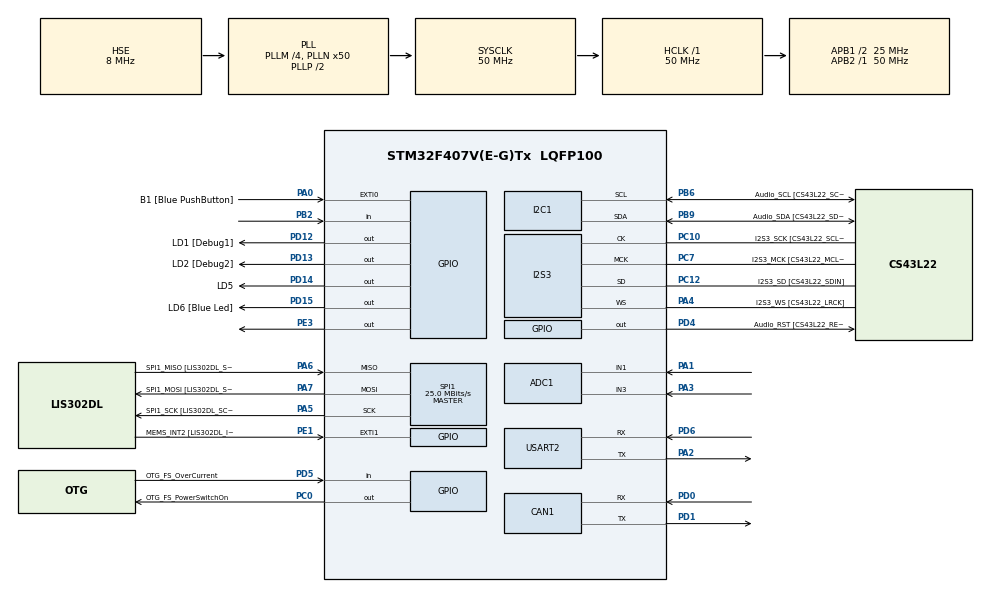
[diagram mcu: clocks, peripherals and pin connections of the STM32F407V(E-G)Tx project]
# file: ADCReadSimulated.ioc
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ADC1.Channel-0\#ChannelRegularConversion=ADC_CHANNEL_1
ADC1.NbrOfConversionFlag=1
ADC1.Rank-0\#ChannelRegularConversion=1
ADC1.SamplingTime-0\#ChannelRegularConversion=ADC_SAMPLETIME_3CYCLES
ADC1.master=1
CAN1.CalculateTimeQuantum=640.0
FREERTOS.INCLUDE_vTaskDelayUntil=1
FREERTOS.Queues01=LedActiveFlagsQueue,16,uint16_t,0,Static,LedActiveFlagsBuffer,LedActiveFlagsControlBlock;AnalogReadValueQueue,16,uint16_t,0,Static,AnalogReadValueBuffer,AnalogReadValueControlBlock
FREERTOS.Tasks01=LedTask,40,128,StartLedTask,Default,NULL,Static,LedTaskBuffer,LedTaskControlBlock;ADCRead,8,128,StartADCRead,Default,NULL,Static,ADCReadBuffer,ADCReadControlBlock;SetActiveLed,8,128,StartSetActiveLed,Default,NULL,Static,SetActiveLedBuffer,SetActiveLedControlBlock;measureTemp,24,128,StartTemperature,Default,NULL,Dynamic,NULL,NULL;ShortCircuit,40,128,StartShortCircuit,Default,NULL,Dynamic,NULL,NULL;overVoltage,40,128,StartOverVoltage,Default,NULL,Dynamic,NULL,NULL
I2S3.AudioFreq-Half_Duplex_Master=I2S_AUDIOFREQ_96K
I2S3.ErrorAudioFreq=-2.34 %
I2S3.ErrorAudioFreq-Half_Duplex_Master=0.8 %
I2S3.FullDuplexMode=I2S_FULLDUPLEXMODE_DISABLE
I2S3.Instance=SPI$Index
I2S3.RealAudioFreq=93.75 KHz
I2S3.RealAudioFreq-Half_Duplex_Master=96.774 KHz
I2S3.VirtualMode=I2S_MODE_MASTER
Mcu.Family=STM32F4
Mcu.Name=STM32F407V(E-G)Tx
Mcu.Package=LQFP100
NVIC.PriorityGroup=NVIC_PRIORITYGROUP_4
NVIC.TIM1_UP_TIM10_IRQn=true\:0\:0\:false\:false\:true\:false\:false\:true
NVIC.TimeBase=TIM1_UP_TIM10_IRQn
NVIC.TimeBaseIP=TIM1
PA0-WKUP.GPIO_Label=B1 [Blue PushButton]
PA0-WKUP.GPIO_ModeDefaultEXTI=GPIO_MODE_EVT_RISING
PA0-WKUP.GPIO_PuPd=GPIO_NOPULL
PA0-WKUP.Signal=GPXTI0
PA1.Signal=ADCx_IN1
PA10.GPIO_Label=OTG_FS_ID
PA10.GPIO_Mode=GPIO_MODE_AF_PP
PA10.GPIO_PuPd=GPIO_NOPULL
PA10.GPIO_Speed=GPIO_SPEED_FREQ_LOW
PA10.Signal=USB_OTG_FS_ID
PA11.GPIO_Label=OTG_FS_DM
PA11.GPIO_Mode=GPIO_MODE_AF_PP
PA11.GPIO_PuPd=GPIO_NOPULL
PA11.GPIO_Speed=GPIO_SPEED_FREQ_LOW
PA11.Signal=USB_OTG_FS_DM
PA12.GPIO_Label=OTG_FS_DP
PA12.GPIO_Mode=GPIO_MODE_AF_PP
PA12.GPIO_PuPd=GPIO_NOPULL
PA12.GPIO_Speed=GPIO_SPEED_FREQ_LOW
PA12.Signal=USB_OTG_FS_DP
PA13.GPIO_Label=SWDIO
PA13.Mode=Serial_Wire
PA13.Signal=SYS_JTMS-SWDIO
PA14.GPIO_Label=SWCLK
PA14.Mode=Serial_Wire
PA14.Signal=SYS_JTCK-SWCLK
PA2.Mode=Asynchronous
PA2.Signal=USART2_TX
PA3.Signal=ADCx_IN3
PA4.GPIO_Label=I2S3_WS [CS43L22_LRCK]
PA4.GPIO_Mode=GPIO_MODE_AF_PP
PA4.GPIO_PuPd=GPIO_NOPULL
PA4.GPIO_Speed=GPIO_SPEED_FREQ_LOW
PA4.Mode=Half_Duplex_Master
PA4.Signal=I2S3_WS
PA5.GPIO_Label=SPI1_SCK [LIS302DL_SCL/SPC]
PA5.GPIO_Mode=GPIO_MODE_AF_PP
PA5.GPIO_PuPd=GPIO_NOPULL
PA5.GPIO_Speed=GPIO_SPEED_FREQ_LOW
PA5.Mode=Full_Duplex_Master
PA5.Signal=SPI1_SCK
PA6.GPIO_Label=SPI1_MISO [LIS302DL_SDO]
PA6.GPIO_Mode=GPIO_MODE_AF_PP
PA6.GPIO_PuPd=GPIO_NOPULL
PA6.GPIO_Speed=GPIO_SPEED_FREQ_LOW
PA6.Mode=Full_Duplex_Master
PA6.Signal=SPI1_MISO
PA7.GPIO_Label=SPI1_MOSI [LIS302DL_SDA/SDI/SDO]
PA7.GPIO_Mode=GPIO_MODE_AF_PP
PA7.GPIO_PuPd=GPIO_NOPULL
PA7.GPIO_Speed=GPIO_SPEED_FREQ_LOW
PA7.Mode=Full_Duplex_Master
PA7.Signal=SPI1_MOSI
PA9.GPIO_Label=VBUS_FS
PA9.GPIO_Mode=GPIO_MODE_INPUT
PA9.GPIO_PuPd=GPIO_NOPULL
PA9.Signal=USB_OTG_FS_VBUS
PB10.GPIO_Label=CLK_IN [MP45DT02_CLK]
PB10.GPIO_Mode=GPIO_MODE_AF_PP
PB10.GPIO_PuPd=GPIO_NOPULL
PB10.GPIO_Speed=GPIO_SPEED_FREQ_LOW
PB10.Signal=I2S2_CK
PB2.Signal=GPIO_Input
PB3.GPIO_Label=SWO
PB3.Signal=SYS_JTDO-SWO
PB6.GPIO_Label=Audio_SCL [CS43L22_SCL]
PB6.GPIO_Mode=GPIO_MODE_AF_OD
PB6.GPIO_PuPd=GPIO_NOPULL
PB6.GPIO_Speed=GPIO_SPEED_FREQ_LOW
PB6.Mode=I2C
PB6.Signal=I2C1_SCL
PB9.GPIO_Label=Audio_SDA [CS43L22_SDA]
PB9.GPIO_Mode=GPIO_MODE_AF_OD
PB9.GPIO_PuPd=GPIO_NOPULL
PB9.GPIO_Speed=GPIO_SPEED_FREQ_LOW
PB9.Mode=I2C
PB9.Signal=I2C1_SDA
PC0.GPIO_Label=OTG_FS_PowerSwitchOn
PC0.GPIO_PuPd=GPIO_NOPULL
PC0.GPIO_Speed=GPIO_SPEED_FREQ_LOW
PC0.PinState=GPIO_PIN_SET
PC0.Signal=GPIO_Output
PC10.GPIO_Label=I2S3_SCK [CS43L22_SCLK]
PC10.GPIO_Mode=GPIO_MODE_AF_PP
PC10.GPIO_PuPd=GPIO_NOPULL
PC10.GPIO_Speed=GPIO_SPEED_FREQ_LOW
PC10.Mode=Half_Duplex_Master
PC10.Signal=I2S3_CK
PC12.GPIO_Label=I2S3_SD [CS43L22_SDIN]
PC12.GPIO_Mode=GPIO_MODE_AF_PP
PC12.GPIO_PuPd=GPIO_NOPULL
PC12.GPIO_Speed=GPIO_SPEED_FREQ_LOW
PC12.Mode=Half_Duplex_Master
PC12.Signal=I2S3_SD
PC14-OSC32_IN.GPIO_Label=PC14-OSC32_IN
PC14-OSC32_IN.Mode=LSE-External-Oscillator
PC14-OSC32_IN.Signal=RCC_OSC32_IN
PC15-OSC32_OUT.GPIO_Label=PC15-OSC32_OUT
PC15-OSC32_OUT.Mode=LSE-External-Oscillator
PC15-OSC32_OUT.Signal=RCC_OSC32_OUT
PC3.GPIO_Label=PDM_OUT [MP45DT02_DOUT]
PC3.GPIO_Mode=GPIO_MODE_AF_PP
PC3.GPIO_PuPd=GPIO_NOPULL
PC3.GPIO_Speed=GPIO_SPEED_FREQ_LOW
PC3.Signal=I2S2_SD
PC7.GPIO_Label=I2S3_MCK [CS43L22_MCLK]
PC7.GPIO_Mode=GPIO_MODE_AF_PP
PC7.GPIO_PuPd=GPIO_NOPULL
PC7.GPIO_Speed=GPIO_SPEED_FREQ_LOW
PC7.Mode=Master_Clock_Activated
PC7.Signal=I2S3_MCK
PD0.Mode=Master
PD0.Signal=CAN1_RX
PD1.Mode=Master
PD1.Signal=CAN1_TX
PD12.GPIO_Label=LD1 [Debug1]
PD12.GPIO_PuPd=GPIO_NOPULL
PD12.GPIO_Speed=GPIO_SPEED_FREQ_LOW
PD12.Signal=GPIO_Output
PD13.GPIO_Label=LD2 [Debug2]
PD13.GPIO_PuPd=GPIO_NOPULL
PD13.GPIO_Speed=GPIO_SPEED_FREQ_LOW
PD13.Signal=GPIO_Output
PD14.GPIO_Label=LD5
PD14.GPIO_PuPd=GPIO_NOPULL
PD14.GPIO_Speed=GPIO_SPEED_FREQ_LOW
PD14.Signal=GPIO_Output
PD15.GPIO_Label=LD6 [Blue Led]
PD15.GPIO_PuPd=GPIO_NOPULL
PD15.GPIO_Speed=GPIO_SPEED_FREQ_LOW
PD15.PinState=GPIO_PIN_RESET
PD15.Signal=GPIO_Output
PD4.GPIO_Label=Audio_RST [CS43L22_RESET]
PD4.GPIO_PuPd=GPIO_NOPULL
PD4.GPIO_Speed=GPIO_SPEED_FREQ_LOW
PD4.Signal=GPIO_Output
PD5.GPIO_Label=OTG_FS_OverCurrent
PD5.GPIO_Mode=GPIO_MODE_INPUT
PD5.GPIO_PuPd=GPIO_NOPULL
PD5.Signal=GPIO_Input
PD6.Mode=Asynchronous
PD6.Signal=USART2_RX
PE1.GPIO_Label=MEMS_INT2 [LIS302DL_INT2]
PE1.GPIO_ModeDefaultEXTI=GPIO_MODE_EVT_RISING
PE1.GPIO_PuPd=GPIO_NOPULL
PE1.Signal=GPXTI1
PE3.Signal=GPIO_Output
PH0-OSC_IN.GPIO_Label=PH0-OSC_IN
PH0-OSC_IN.Mode=HSE-External-Oscillator
PH0-OSC_IN.Signal=RCC_OSC_IN
PH1-OSC_OUT.GPIO_Label=PH1-OSC_OUT
PH1-OSC_OUT.Mode=HSE-External-Oscillator
PH1-OSC_OUT.Signal=RCC_OSC_OUT
ProjectManager.HeapSize=0x200
ProjectManager.StackSize=0x400
ProjectManager.TargetToolchain=MDK-ARM V5.27
RCC.48MHZClocksFreq_Value=14285714.285714285
RCC.AHBFreq_Value=50000000
RCC.APB1CLKDivider=RCC_HCLK_DIV2
RCC.APB1Freq_Value=25000000
RCC.APB1TimFreq_Value=50000000
RCC.APB2Freq_Value=50000000
RCC.APB2TimFreq_Value=50000000
RCC.CortexFreq_Value=50000000
RCC.HCLKFreq_Value=50000000
RCC.HSE_VALUE=8000000
RCC.HSI_VALUE=16000000
RCC.PLLM=4
RCC.PLLN=50
RCC.PLLQ=7
RCC.PLLSourceVirtual=RCC_PLLSOURCE_HSE
RCC.SYSCLKFreq_VALUE=50000000
RCC.SYSCLKSource=RCC_SYSCLKSOURCE_PLLCLK
RCC.VCOOutputFreq_Value=100000000
SH.ADCx_IN1.0=ADC1_IN1,IN1
SH.ADCx_IN3.0=ADC1_IN3,IN3
SPI1.BaudRatePrescaler=SPI_BAUDRATEPRESCALER_2
SPI1.BaudRatePrescaler-Full_Duplex_Master=SPI_BAUDRATEPRESCALER_2
SPI1.CalculateBaudRate=25.0 MBits/s
SPI1.CalculateBaudRate-Full_Duplex_Master=42.0 MBits/s
SPI1.Direction=SPI_DIRECTION_2LINES
SPI1.Mode=SPI_MODE_MASTER
SPI1.Mode-Full_Duplex_Master=SPI_MODE_MASTER
SPI1.VirtualType=VM_MASTER
USART2.VirtualMode=VM_ASYNC
VP_FREERTOS_VS_CMSIS_V2.Mode=CMSIS_V2
VP_RTC_VS_RTC_Activate.Mode=RTC_Enabled
VP_SYS_VS_tim1.Mode=TIM1
board=STM32F407G-DISC1

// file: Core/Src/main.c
/* USER CODE BEGIN Header */
/**
  ******************************************************************************
  * @file           : main.c
  * @brief          : Main program body
  ******************************************************************************
  * @attention
  *
  * <h2><center>&copy; Copyright (c) 2020 STMicroelectronics.
  * All rights reserved.</center></h2>
  *
  * This software component is licensed by ST under Ultimate Liberty license
  * SLA0044, the "License"; You may not use this file except in compliance with
  * the License. You may obtain a copy of the License at:
  *                             www.st.com/SLA0044
  *
  ******************************************************************************
  */
/* USER CODE END Header */
#include "main.h"
#include "cmsis_os.h"

typedef StaticTask_t osStaticThreadDef_t;
typedef StaticQueue_t osStaticMessageQDef_t;

/* USER CODE BEGIN PD */
#define ADC_READ_SIMULATION_TASK_FREQUENCY 			50
#define ADC_READ_SIMULATION_TASK_PERIOD_TICKS 	configTICK_RATE_HZ/ADC_READ_SIMULATION_TASK_FREQUENCY
#define LED_TASK_FREQUENCY											5
#define LED_TASK_PERIOD_TICKS 									configTICK_RATE_HZ/LED_TASK_FREQUENCY
/* USER CODE END PD */

ADC_HandleTypeDef hadc1;

CAN_HandleTypeDef hcan1;

I2C_HandleTypeDef hi2c1;

I2S_HandleTypeDef hi2s3;

RTC_HandleTypeDef hrtc;

SPI_HandleTypeDef hspi1;

UART_HandleTypeDef huart2;

/* Definitions for LedTask */
osThreadId_t LedTaskHandle;
uint32_t LedTaskBuffer[ 128 ];
osStaticThreadDef_t LedTaskControlBlock;
const osThreadAttr_t LedTask_attributes = {
  .name = "LedTask",
  .stack_mem = &LedTaskBuffer[0],
  .stack_size = sizeof(LedTaskBuffer),
  .cb_mem = &LedTaskControlBlock,
  .cb_size = sizeof(LedTaskControlBlock),
  .priority = (osPriority_t) osPriorityHigh,
};
/* Definitions for ADCRead */
osThreadId_t ADCReadHandle;
uint32_t ADCReadBuffer[ 128 ];
osStaticThreadDef_t ADCReadControlBlock;
const osThreadAttr_t ADCRead_attributes = {
  .name = "ADCRead",
  .stack_mem = &ADCReadBuffer[0],
  .stack_size = sizeof(ADCReadBuffer),
  .cb_mem = &ADCReadControlBlock,
  .cb_size = sizeof(ADCReadControlBlock),
  .priority = (osPriority_t) osPriorityLow,
};

/* Definitions for ADCReadVolIn */
osThreadId_t ADCReadVolInHandle;
uint32_t ADCReadVolInBuffer[ 128 ];
osStaticThreadDef_t ADCReadVolInControlBlock;
const osThreadAttr_t ADCReadVolIn_attributes = {
  .name = "ADCReadVolIn",
  .stack_mem = &ADCReadVolInBuffer[0],
  .stack_size = sizeof(ADCReadVolInBuffer),
  .cb_mem = &ADCReadControlBlock,
  .cb_size = sizeof(ADCReadVolInControlBlock),
  .priority = (osPriority_t) osPriorityLow,
};

/* Definitions for SetActiveLed */
osThreadId_t SetActiveLedHandle;
uint32_t SetActiveLedBuffer[ 128 ];
osStaticThreadDef_t SetActiveLedControlBlock;
const osThreadAttr_t SetActiveLed_attributes = {
  .name = "SetActiveLed",
  .stack_mem = &SetActiveLedBuffer[0],
  .stack_size = sizeof(SetActiveLedBuffer),
  .cb_mem = &SetActiveLedControlBlock,
  .cb_size = sizeof(SetActiveLedControlBlock),
  .priority = (osPriority_t) osPriorityLow,
};
/* Definitions for measureTemp */
osThreadId_t measureTempHandle;
uint32_t measureTempBuffer[ 128 ];
osStaticThreadDef_t measureTempControlBlock;
const osThreadAttr_t measureTemp_attributes = {
  .name = "measureTemp",
	.stack_mem = &measureTempBuffer[0],
  .stack_size = sizeof(measureTempBuffer),
  .cb_mem = &measureTempControlBlock,
  .cb_size = sizeof(measureTempControlBlock),
  .priority = (osPriority_t) osPriorityLow,
};
/* Definitions for ShortCircuit */
osThreadId_t ShortCircuitHandle;
const osThreadAttr_t ShortCircuit_attributes = {
  .name = "ShortCircuit",
  .priority = (osPriority_t) osPriorityHigh,
  .stack_size = 128 * 4
};
/* Definitions for overVoltage */
osThreadId_t overVoltageHandle;
const osThreadAttr_t overVoltage_attributes = {
  .name = "overVoltage",
  .priority = (osPriority_t) osPriorityHigh,
  .stack_size = 128 * 4
};
/* Definitions for LedActiveFlagsQueue */
osMessageQueueId_t LedActiveFlagsQueueHandle;
uint8_t LedActiveFlagsBuffer[ 16 * sizeof( uint16_t ) ];
osStaticMessageQDef_t LedActiveFlagsControlBlock;
const osMessageQueueAttr_t LedActiveFlagsQueue_attributes = {
  .name = "LedActiveFlagsQueue",
  .cb_mem = &LedActiveFlagsControlBlock,
  .cb_size = sizeof(LedActiveFlagsControlBlock),
  .mq_mem = &LedActiveFlagsBuffer,
  .mq_size = sizeof(LedActiveFlagsBuffer)
};
/* Definitions for AnalogReadValueQueue */
osMessageQueueId_t AnalogReadValueQueueHandle;
uint8_t AnalogReadValueBuffer[ 16 * sizeof( uint16_t ) ];
osStaticMessageQDef_t AnalogReadValueControlBlock;
const osMessageQueueAttr_t AnalogReadValueQueue_attributes = {
  .name = "AnalogReadValueQueue",
  .cb_mem = &AnalogReadValueControlBlock,
  .cb_size = sizeof(AnalogReadValueControlBlock),
  .mq_mem = &AnalogReadValueBuffer,
  .mq_size = sizeof(AnalogReadValueBuffer)
};

/* Definitions for AnalogReadVolInValueQueue */
osMessageQueueId_t AnalogReadVolInValueQueueHandle;
uint8_t AnalogReadVolInValueBuffer[ 16 * sizeof( uint16_t ) ];
osStaticMessageQDef_t AnalogReadVolInValueControlBlock;
const osMessageQueueAttr_t AnalogReadVolInValueQueue_attributes = {
  .name = "AnalogReadValueQueue",
  .cb_mem = &AnalogReadValueControlBlock,
  .cb_size = sizeof(AnalogReadValueControlBlock),
  .mq_mem = &AnalogReadValueBuffer,
  .mq_size = sizeof(AnalogReadValueBuffer)
};

/* Definitions for measureTempValueQueue */
osMessageQueueId_t measureTempValueQueueHandle;
uint8_t measureTempValueBuffer[ 16 * sizeof( uint16_t ) ];
osStaticMessageQDef_t measureTempValueControlBlock;
const osMessageQueueAttr_t measureTempValueQueue_attributes = {
  .name = "measureTempValueQueue",
  .cb_mem = &measureTempValueControlBlock,
  .cb_size = sizeof(measureTempValueControlBlock),
  .mq_mem = &measureTempValueBuffer,
  .mq_size = sizeof(measureTempValueBuffer)
};

void SystemClock_Config(void);
static void MX_GPIO_Init(void);
static void MX_I2C1_Init(void);
static void MX_I2S3_Init(void);
static void MX_SPI1_Init(void);
static void MX_ADC1_Init(void);
static void MX_CAN1_Init(void);
static void MX_RTC_Init(void);
static void MX_USART2_UART_Init(void);
void StartLedTask(void *argument);
void StartADCRead(void *argument);
void StartADCReadVolIn(void *argument);
void StartSetActiveLed(void *argument);
void StartTemperature(void *argument);
void StartShortCircuit(void *argument);
void StartOverVoltage(void *argument);

int main(void)
{

  /* MCU Configuration--------------------------------------------------------*/

  /* Reset of all peripherals, Initializes the Flash interface and the Systick. */
  HAL_Init();

  /* Configure the system clock */
  SystemClock_Config();

  /* Initialize all configured peripherals */
  MX_GPIO_Init();
  MX_I2C1_Init();
  MX_I2S3_Init();
  MX_SPI1_Init();
  MX_ADC1_Init();
  MX_CAN1_Init();
  MX_RTC_Init();
  MX_USART2_UART_Init();

  /* Init scheduler */
  osKernelInitialize();

  /* Create the queue(s) */
  /* creation of LedActiveFlagsQueue */
  LedActiveFlagsQueueHandle = osMessageQueueNew (16, sizeof(uint16_t), &LedActiveFlagsQueue_attributes);

  /* creation of AnalogReadValueQueue */
  AnalogReadValueQueueHandle = osMessageQueueNew (16, sizeof(uint16_t), &AnalogReadValueQueue_attributes);

	/* creation of AnalogReadVolInValueQueue */
  AnalogReadVolInValueQueueHandle = osMessageQueueNew (16, sizeof(uint16_t), &AnalogReadVolInValueQueue_attributes);

	/* creation of measureTempValueQueue */
  measureTempValueQueueHandle = osMessageQueueNew (16, sizeof(uint16_t), &measureTempValueQueue_attributes);

  /* Create the thread(s) */
  /* creation of LedTask */
  LedTaskHandle = osThreadNew(StartLedTask, NULL, &LedTask_attributes);

  /* creation of ADCRead */
  ADCReadHandle = osThreadNew(StartADCRead, NULL, &ADCRead_attributes);

	/* creation of ADCReadVolIn */
  ADCReadVolInHandle = osThreadNew(StartADCReadVolIn, NULL, &ADCReadVolIn_attributes);

  /* creation of SetActiveLed */
  SetActiveLedHandle = osThreadNew(StartSetActiveLed, NULL, &SetActiveLed_attributes);

  /* creation of measureTemp */
  measureTempHandle = osThreadNew(StartTemperature, NULL, &measureTemp_attributes);

  /* creation of ShortCircuit */
  ShortCircuitHandle = osThreadNew(StartShortCircuit, NULL, &ShortCircuit_attributes);

  /* creation of overVoltage */
  overVoltageHandle = osThreadNew(StartOverVoltage, NULL, &overVoltage_attributes);

  /* Start scheduler */
  osKernelStart();

  /* We should never get here as control is now taken by the scheduler */
  /* Infinite loop */
  while (1)
  {

  }
}

void SystemClock_Config(void)
{
  RCC_OscInitTypeDef RCC_OscInitStruct = {0};
  RCC_ClkInitTypeDef RCC_ClkInitStruct = {0};
  RCC_PeriphCLKInitTypeDef PeriphClkInitStruct = {0};

  /** Configure the main internal regulator output voltage
  */
  __HAL_RCC_PWR_CLK_ENABLE();
  __HAL_PWR_VOLTAGESCALING_CONFIG(PWR_REGULATOR_VOLTAGE_SCALE1);
  /** Initializes the RCC Oscillators according to the specified parameters
  * in the RCC_OscInitTypeDef structure.
  */
  RCC_OscInitStruct.OscillatorType = RCC_OSCILLATORTYPE_LSI|RCC_OSCILLATORTYPE_HSE;
  RCC_OscInitStruct.HSEState = RCC_HSE_ON;
  RCC_OscInitStruct.LSIState = RCC_LSI_ON;
  RCC_OscInitStruct.PLL.PLLState = RCC_PLL_ON;
  RCC_OscInitStruct.PLL.PLLSource = RCC_PLLSOURCE_HSE;
  RCC_OscInitStruct.PLL.PLLM = 4;
  RCC_OscInitStruct.PLL.PLLN = 50;
  RCC_OscInitStruct.PLL.PLLP = RCC_PLLP_DIV2;
  RCC_OscInitStruct.PLL.PLLQ = 7;
  if (HAL_RCC_OscConfig(&RCC_OscInitStruct) != HAL_OK)
  {
    Error_Handler();
  }
  /** Initializes the CPU, AHB and APB buses clocks
  */
  RCC_ClkInitStruct.ClockType = RCC_CLOCKTYPE_HCLK|RCC_CLOCKTYPE_SYSCLK
                              |RCC_CLOCKTYPE_PCLK1|RCC_CLOCKTYPE_PCLK2;
  RCC_ClkInitStruct.SYSCLKSource = RCC_SYSCLKSOURCE_PLLCLK;
  RCC_ClkInitStruct.AHBCLKDivider = RCC_SYSCLK_DIV1;
  RCC_ClkInitStruct.APB1CLKDivider = RCC_HCLK_DIV2;
  RCC_ClkInitStruct.APB2CLKDivider = RCC_HCLK_DIV1;

  if (HAL_RCC_ClockConfig(&RCC_ClkInitStruct, FLASH_LATENCY_1) != HAL_OK)
  {
    Error_Handler();
  }
  PeriphClkInitStruct.PeriphClockSelection = RCC_PERIPHCLK_I2S|RCC_PERIPHCLK_RTC;
  PeriphClkInitStruct.PLLI2S.PLLI2SN = 192;
  PeriphClkInitStruct.PLLI2S.PLLI2SR = 2;
  PeriphClkInitStruct.RTCClockSelection = RCC_RTCCLKSOURCE_LSI;
  if (HAL_RCCEx_PeriphCLKConfig(&PeriphClkInitStruct) != HAL_OK)
  {
    Error_Handler();
  }
}

static void MX_ADC1_Init(void)
{

  ADC_ChannelConfTypeDef sConfig = {0};

  /** Configure the global features of the ADC (Clock, Resolution, Data Alignment and number of conversion)
  */
  hadc1.Instance = ADC1;
  hadc1.Init.ClockPrescaler = ADC_CLOCK_SYNC_PCLK_DIV2;
  hadc1.Init.Resolution = ADC_RESOLUTION_12B;
  hadc1.Init.ScanConvMode = DISABLE;
  hadc1.Init.ContinuousConvMode = DISABLE;
  hadc1.Init.DiscontinuousConvMode = DISABLE;
  hadc1.Init.ExternalTrigConvEdge = ADC_EXTERNALTRIGCONVEDGE_NONE;
  hadc1.Init.ExternalTrigConv = ADC_SOFTWARE_START;
  hadc1.Init.DataAlign = ADC_DATAALIGN_RIGHT;
  hadc1.Init.NbrOfConversion = 1;
  hadc1.Init.DMAContinuousRequests = DISABLE;
  hadc1.Init.EOCSelection = ADC_EOC_SINGLE_CONV;
  if (HAL_ADC_Init(&hadc1) != HAL_OK)
  {
    Error_Handler();
  }
  /** Configure for the selected ADC regular channel its corresponding rank in the sequencer and its sample time.
  */
  sConfig.Channel = ADC_CHANNEL_1;
  sConfig.Rank = 1;
  sConfig.SamplingTime = ADC_SAMPLETIME_3CYCLES;
  if (HAL_ADC_ConfigChannel(&hadc1, &sConfig) != HAL_OK)
  {
    Error_Handler();
  }

}

static void MX_CAN1_Init(void)
{

  hcan1.Instance = CAN1;
  hcan1.Init.Prescaler = 16;
  hcan1.Init.Mode = CAN_MODE_NORMAL;
  hcan1.Init.SyncJumpWidth = CAN_SJW_1TQ;
  hcan1.Init.TimeSeg1 = CAN_BS1_1TQ;
  hcan1.Init.TimeSeg2 = CAN_BS2_1TQ;
  hcan1.Init.TimeTriggeredMode = DISABLE;
  hcan1.Init.AutoBusOff = DISABLE;
  hcan1.Init.AutoWakeUp = DISABLE;
  hcan1.Init.AutoRetransmission = DISABLE;
  hcan1.Init.ReceiveFifoLocked = DISABLE;
  hcan1.Init.TransmitFifoPriority = DISABLE;
  if (HAL_CAN_Init(&hcan1) != HAL_OK)
  {
    Error_Handler();
  }

}

static void MX_I2C1_Init(void)
{

  hi2c1.Instance = I2C1;
  hi2c1.Init.ClockSpeed = 100000;
  hi2c1.Init.DutyCycle = I2C_DUTYCYCLE_2;
  hi2c1.Init.OwnAddress1 = 0;
  hi2c1.Init.AddressingMode = I2C_ADDRESSINGMODE_7BIT;
  hi2c1.Init.DualAddressMode = I2C_DUALADDRESS_DISABLE;
  hi2c1.Init.OwnAddress2 = 0;
  hi2c1.Init.GeneralCallMode = I2C_GENERALCALL_DISABLE;
  hi2c1.Init.NoStretchMode = I2C_NOSTRETCH_DISABLE;
  if (HAL_I2C_Init(&hi2c1) != HAL_OK)
  {
    Error_Handler();
  }

}

static void MX_I2S3_Init(void)
{

  hi2s3.Instance = SPI3;
  hi2s3.Init.Mode = I2S_MODE_MASTER_TX;
  hi2s3.Init.Standard = I2S_STANDARD_PHILIPS;
  hi2s3.Init.DataFormat = I2S_DATAFORMAT_16B;
  hi2s3.Init.MCLKOutput = I2S_MCLKOUTPUT_ENABLE;
  hi2s3.Init.AudioFreq = I2S_AUDIOFREQ_96K;
  hi2s3.Init.CPOL = I2S_CPOL_LOW;
  hi2s3.Init.ClockSource = I2S_CLOCK_PLL;
  hi2s3.Init.FullDuplexMode = I2S_FULLDUPLEXMODE_DISABLE;
  if (HAL_I2S_Init(&hi2s3) != HAL_OK)
  {
    Error_Handler();
  }

}

static void MX_RTC_Init(void)
{

  /** Initialize RTC Only
  */
  hrtc.Instance = RTC;
  hrtc.Init.HourFormat = RTC_HOURFORMAT_24;
  hrtc.Init.AsynchPrediv = 127;
  hrtc.Init.SynchPrediv = 255;
  hrtc.Init.OutPut = RTC_OUTPUT_DISABLE;
  hrtc.Init.OutPutPolarity = RTC_OUTPUT_POLARITY_HIGH;
  hrtc.Init.OutPutType = RTC_OUTPUT_TYPE_OPENDRAIN;
  if (HAL_RTC_Init(&hrtc) != HAL_OK)
  {
    Error_Handler();
  }

}

static void MX_SPI1_Init(void)
{

  /* SPI1 parameter configuration*/
  hspi1.Instance = SPI1;
  hspi1.Init.Mode = SPI_MODE_MASTER;
  hspi1.Init.Direction = SPI_DIRECTION_2LINES;
  hspi1.Init.DataSize = SPI_DATASIZE_8BIT;
  hspi1.Init.CLKPolarity = SPI_POLARITY_LOW;
  hspi1.Init.CLKPhase = SPI_PHASE_1EDGE;
  hspi1.Init.NSS = SPI_NSS_SOFT;
  hspi1.Init.BaudRatePrescaler = SPI_BAUDRATEPRESCALER_2;
  hspi1.Init.FirstBit = SPI_FIRSTBIT_MSB;
  hspi1.Init.TIMode = SPI_TIMODE_DISABLE;
  hspi1.Init.CRCCalculation = SPI_CRCCALCULATION_DISABLE;
  hspi1.Init.CRCPolynomial = 10;
  if (HAL_SPI_Init(&hspi1) != HAL_OK)
  {
    Error_Handler();
  }

}

static void MX_USART2_UART_Init(void)
{

  huart2.Instance = USART2;
  huart2.Init.BaudRate = 115200;
  huart2.Init.WordLength = UART_WORDLENGTH_8B;
  huart2.Init.StopBits = UART_STOPBITS_1;
  huart2.Init.Parity = UART_PARITY_NONE;
  huart2.Init.Mode = UART_MODE_TX_RX;
  huart2.Init.HwFlowCtl = UART_HWCONTROL_NONE;
  huart2.Init.OverSampling = UART_OVERSAMPLING_16;
  if (HAL_UART_Init(&huart2) != HAL_OK)
  {
    Error_Handler();
  }

}

static void MX_GPIO_Init(void)
{
  GPIO_InitTypeDef GPIO_InitStruct = {0};

  /* GPIO Ports Clock Enable */
  __HAL_RCC_GPIOE_CLK_ENABLE();
  __HAL_RCC_GPIOC_CLK_ENABLE();
  __HAL_RCC_GPIOH_CLK_ENABLE();
  __HAL_RCC_GPIOA_CLK_ENABLE();
  __HAL_RCC_GPIOB_CLK_ENABLE();
  __HAL_RCC_GPIOD_CLK_ENABLE();

  /*Configure GPIO pin Output Level */
  HAL_GPIO_WritePin(GPIOE, GPIO_PIN_3, GPIO_PIN_RESET);

  /*Configure GPIO pin Output Level */
  HAL_GPIO_WritePin(OTG_FS_PowerSwitchOn_GPIO_Port, OTG_FS_PowerSwitchOn_Pin, GPIO_PIN_SET);

  /*Configure GPIO pin Output Level */
  HAL_GPIO_WritePin(GPIOD, LD1_Pin|LD2_Pin|LD5_Pin|LD6_Pin
                          |Audio_RST_Pin, GPIO_PIN_RESET);

  /*Configure GPIO pin : PE3 */
  GPIO_InitStruct.Pin = GPIO_PIN_3;
  GPIO_InitStruct.Mode = GPIO_MODE_OUTPUT_PP;
  GPIO_InitStruct.Pull = GPIO_NOPULL;
  GPIO_InitStruct.Speed = GPIO_SPEED_FREQ_LOW;
  HAL_GPIO_Init(GPIOE, &GPIO_InitStruct);

  /*Configure GPIO pin : OTG_FS_PowerSwitchOn_Pin */
  GPIO_InitStruct.Pin = OTG_FS_PowerSwitchOn_Pin;
  GPIO_InitStruct.Mode = GPIO_MODE_OUTPUT_PP;
  GPIO_InitStruct.Pull = GPIO_NOPULL;
  GPIO_InitStruct.Speed = GPIO_SPEED_FREQ_LOW;
  HAL_GPIO_Init(OTG_FS_PowerSwitchOn_GPIO_Port, &GPIO_InitStruct);

  /*Configure GPIO pin : PDM_OUT_Pin */
  GPIO_InitStruct.Pin = PDM_OUT_Pin;
  GPIO_InitStruct.Mode = GPIO_MODE_AF_PP;
  GPIO_InitStruct.Pull = GPIO_NOPULL;
  GPIO_InitStruct.Speed = GPIO_SPEED_FREQ_LOW;
  GPIO_InitStruct.Alternate = GPIO_AF5_SPI2;
  HAL_GPIO_Init(PDM_OUT_GPIO_Port, &GPIO_InitStruct);

  /*Configure GPIO pin : B1_Pin */
  GPIO_InitStruct.Pin = B1_Pin;
  GPIO_InitStruct.Mode = GPIO_MODE_EVT_RISING;
  GPIO_InitStruct.Pull = GPIO_NOPULL;
  HAL_GPIO_Init(B1_GPIO_Port, &GPIO_InitStruct);

  /*Configure GPIO pin : PB2 */
  GPIO_InitStruct.Pin = GPIO_PIN_2;
  GPIO_InitStruct.Mode = GPIO_MODE_INPUT;
  GPIO_InitStruct.Pull = GPIO_NOPULL;
  HAL_GPIO_Init(GPIOB, &GPIO_InitStruct);

  /*Configure GPIO pin : CLK_IN_Pin */
  GPIO_InitStruct.Pin = CLK_IN_Pin;
  GPIO_InitStruct.Mode = GPIO_MODE_AF_PP;
  GPIO_InitStruct.Pull = GPIO_NOPULL;
  GPIO_InitStruct.Speed = GPIO_SPEED_FREQ_LOW;
  GPIO_InitStruct.Alternate = GPIO_AF5_SPI2;
  HAL_GPIO_Init(CLK_IN_GPIO_Port, &GPIO_InitStruct);

  /*Configure GPIO pins : LD1_Pin LD2_Pin LD5_Pin LD6_Pin
                           Audio_RST_Pin */
  GPIO_InitStruct.Pin = LD1_Pin|LD2_Pin|LD5_Pin|LD6_Pin
                          |Audio_RST_Pin;
  GPIO_InitStruct.Mode = GPIO_MODE_OUTPUT_PP;
  GPIO_InitStruct.Pull = GPIO_NOPULL;
  GPIO_InitStruct.Speed = GPIO_SPEED_FREQ_LOW;
  HAL_GPIO_Init(GPIOD, &GPIO_InitStruct);

  /*Configure GPIO pin : VBUS_FS_Pin */
  GPIO_InitStruct.Pin = VBUS_FS_Pin;
  GPIO_InitStruct.Mode = GPIO_MODE_INPUT;
  GPIO_InitStruct.Pull = GPIO_NOPULL;
  HAL_GPIO_Init(VBUS_FS_GPIO_Port, &GPIO_InitStruct);

  /*Configure GPIO pins : OTG_FS_ID_Pin OTG_FS_DM_Pin OTG_FS_DP_Pin */
  GPIO_InitStruct.Pin = OTG_FS_ID_Pin|OTG_FS_DM_Pin|OTG_FS_DP_Pin;
  GPIO_InitStruct.Mode = GPIO_MODE_AF_PP;
  GPIO_InitStruct.Pull = GPIO_NOPULL;
  GPIO_InitStruct.Speed = GPIO_SPEED_FREQ_LOW;
  GPIO_InitStruct.Alternate = GPIO_AF10_OTG_FS;
  HAL_GPIO_Init(GPIOA, &GPIO_InitStruct);

  /*Configure GPIO pin : OTG_FS_OverCurrent_Pin */
  GPIO_InitStruct.Pin = OTG_FS_OverCurrent_Pin;
  GPIO_InitStruct.Mode = GPIO_MODE_INPUT;
  GPIO_InitStruct.Pull = GPIO_NOPULL;
  HAL_GPIO_Init(OTG_FS_OverCurrent_GPIO_Port, &GPIO_InitStruct);

  /*Configure GPIO pin : MEMS_INT2_Pin */
  GPIO_InitStruct.Pin = MEMS_INT2_Pin;
  GPIO_InitStruct.Mode = GPIO_MODE_EVT_RISING;
  GPIO_InitStruct.Pull = GPIO_NOPULL;
  HAL_GPIO_Init(MEMS_INT2_GPIO_Port, &GPIO_InitStruct);

}

void StartLedTask(void *argument)
{
  /* USER CODE BEGIN 5 */
	osStatus_t queueMessageStatus;
	uint16_t ledActiveFlags;
  /* Infinite loop */
  for(;;)
  {
		queueMessageStatus=osMessageQueueGet( LedActiveFlagsQueueHandle, &ledActiveFlags, NULL, ZERO  );
		if(queueMessageStatus ==osOK)
		{
			BlinkingLedsApp(ledActiveFlags);
		}
    osDelay(LED_TASK_PERIOD_TICKS);
  }
  /* USER CODE END 5 */
}

void StartADCRead(void *argument)
{
  /* USER CODE BEGIN StartADCRead */
	uint16_t analogValue;
  /* Infinite loop */
  for(;;)
  {
		analogValue=ADCReadSimulationApp();
		osMessageQueuePut(AnalogReadValueQueueHandle, &analogValue, ZERO, ZERO );
    osDelay(ADC_READ_SIMULATION_TASK_PERIOD_TICKS);
  }
  /* USER CODE END StartADCRead */
}

void StartADCReadVolIn(void *argument)
{
  /* USER CODE BEGIN StartADCRead */
	uint16_t analogValueVolIn;
  /* Infinite loop */
  for(;;)
  {
		analogValueVolIn=ADCReadVolInSimulationApp();
		osMessageQueuePut(AnalogReadVolInValueQueueHandle, &analogValueVolIn, ZERO, ZERO );
    osDelay(ADC_READ_SIMULATION_TASK_PERIOD_TICKS);
  }
  /* USER CODE END StartADCRead */
}

void StartSetActiveLed(void *argument)
{
  /* USER CODE BEGIN StartSetActiveLed */

	osStatus_t queueMessageStatus;
	uint16_t analogValueRead;
	uint16_t ledActiveFlags;
	uint16_t dummyQueueReadValue;
	uint8_t messagePriority;

	uint32_t queueFreeSpaces;
  /* Infinite loop */
  for(;;)
  {
		queueMessageStatus=osMessageQueueGet(AnalogReadValueQueueHandle, &analogValueRead, &messagePriority, osWaitForever  );
		if(queueMessageStatus ==osOK)
		{
			ledActiveFlags=SetActiveLedsApp(analogValueRead);

			/* Free queue space if full */
			queueFreeSpaces=osMessageQueueGetSpace(LedActiveFlagsQueueHandle);
			if(queueFreeSpaces==ZERO)
			{
				osMessageQueueGet(LedActiveFlagsQueueHandle, &dummyQueueReadValue, NULL, NULL  );
			}
			/* Send Message */
			queueMessageStatus=osMessageQueuePut(LedActiveFlagsQueueHandle, &ledActiveFlags, ZERO, ZERO );
		}
  }
  /* USER CODE END StartSetActiveLed */
}

void StartTemperature(void *argument)
{
  /* USER CODE BEGIN StartTemperature */
	uint16_t temperature;
	uint16_t state;
  /* Infinite loop */
  for(;;)
  {
    temperature=ert_main();
		osMessageQueuePut(measureTempValueQueueHandle, &temperature, ZERO, ZERO );
    osDelay(ADC_READ_SIMULATION_TASK_PERIOD_TICKS);
  }
  /* USER CODE END StartTemperature */
}

void StartShortCircuit(void *argument)
{
  for(;;)
  {
    osDelay(1);
  }
}

void StartOverVoltage(void *argument)
{
  for(;;)
  {
    osDelay(1);
  }
}

void HAL_TIM_PeriodElapsedCallback(TIM_HandleTypeDef *htim)
{
  if (htim->Instance == TIM1) {
    HAL_IncTick();
  }
}

void Error_Handler(void)
{
}

/************************ (C) COPYRIGHT STMicroelectronics *****END OF FILE****/
